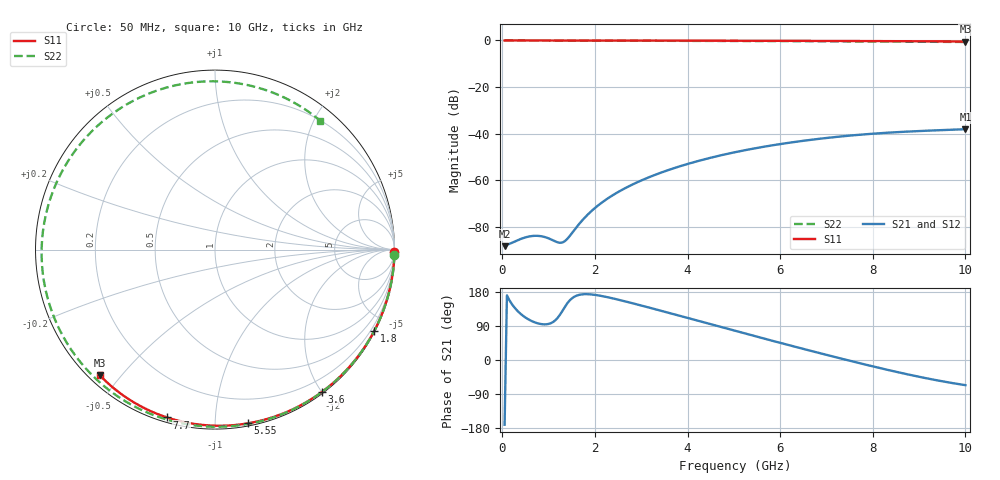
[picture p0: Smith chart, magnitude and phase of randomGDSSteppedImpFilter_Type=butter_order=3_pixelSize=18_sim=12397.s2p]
! freq	dB(S11)	phase(S11)	dB(S12)	phase(S12)
!  dB(S21)	phase(S21)	dB(S22)	phase(S22)
!S-par simulation data
#  GHz  S  DB  R 50
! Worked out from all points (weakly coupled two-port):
!   200 points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, 50 MHz to 10 GHz, reference 50 ohm
!   highest |S21| = -38.08 dB at 10 GHz (marker M1); lowest = -88.3 dB at 50 MHz (marker M2)
!   lowest |S11| = -0.4 dB at 10 GHz (marker M3), VSWR 38.79, Z = 1.54 - j21.9 ohm
!   |S11| at or under -10 dB: nowhere
!   |S22| runs from -0.7 to 0.0 dB; largest |S21 - S12| = 0
!   S11 on the Smith chart (normalised r, x): 50 MHz: open; 1.8 GHz: 0.04, -4.14; 3.6 GHz: 0.02, -2.00; 5.55 GHz: 0.02, -1.21; 7.7 GHz: 0.02, -0.75; 10 GHz: 0.03, -0.44
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0.05  -0.00 -0.8  -88.27 -170.9  -88.27 -170.9  -0.00 -1.6
0.8  -0.01 -12.2  -83.90 95.7  -83.90 95.7  -0.03 -26.0
1.6  -0.03 -24.2  -80.20 169.6  -80.20 169.6  -0.06 -51.1
1.75  -0.03 -26.4  -76.67 173.5  -76.67 173.5  -0.07 -55.7
1.8  -0.03 -27.2  -75.62 173.8  -75.62 173.8  -0.07 -57.2
2.1  -0.04 -31.6  -70.31 169.9  -70.31 169.9  -0.08 -66.3
2.45  -0.05 -36.7  -65.63 160.8  -65.63 160.8  -0.10 -76.6
2.9  -0.06 -43.2  -60.98 147.0  -60.98 147.0  -0.11 -89.6
3.4  -0.07 -50.3  -56.91 130.9  -56.91 130.9  -0.13 -103.6
3.6  -0.07 -53.1  -55.51 124.3  -55.51 124.3  -0.14 -109.1
4.3  -0.09 -62.7  -51.34 101.1  -51.34 101.1  -0.17 -128.1
5.05  -0.11 -72.8  -47.85 76.3  -47.85 76.3  -0.22 -148.0
5.55  -0.13 -79.3  -45.94 59.9  -45.94 59.9  -0.25 -161.4
6.15  -0.15 -86.9  -44.02 40.5  -44.02 40.5  -0.29 -177.8
6.7  -0.18 -93.8  -42.54 23.0  -42.54 23.0  -0.34 166.7
7.2  -0.21 -99.9  -41.42 7.4  -41.42 7.4  -0.38 151.9
7.7  -0.24 -105.9  -40.49 -7.9  -40.49 -7.9  -0.43 136.2
8.35  -0.29 -113.6  -39.55 -26.9  -39.55 -26.9  -0.50 114.4
8.8  -0.33 -118.8  -39.06 -39.1  -39.06 -39.1  -0.54 98.1
9.2  -0.36 -123.4  -38.70 -49.2  -38.70 -49.2  -0.58 83.0
9.6  -0.40 -128.0  -38.39 -58.4  -38.39 -58.4  -0.62 67.1
10  -0.45 -132.6  -38.08 -66.4  -38.08 -66.4  -0.66 50.8
